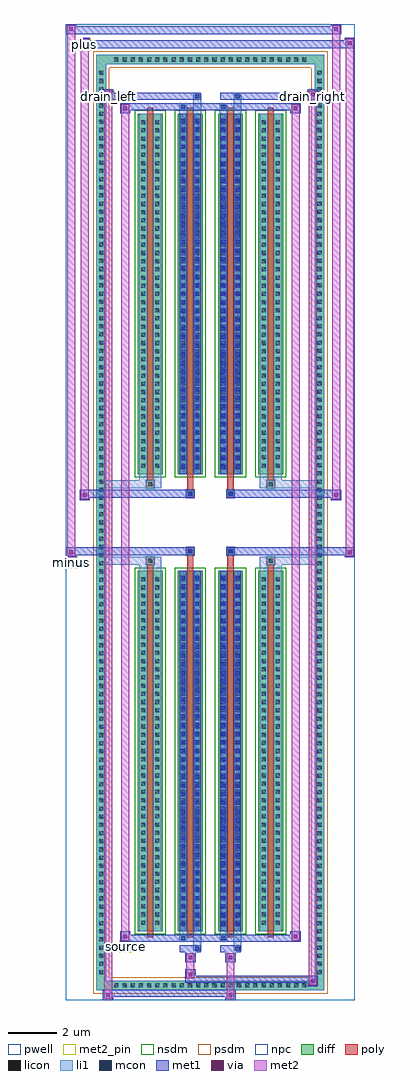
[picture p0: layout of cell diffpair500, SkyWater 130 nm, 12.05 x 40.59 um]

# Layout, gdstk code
import gdstk
lib = gdstk.Library(unit=1e-6, precision=5e-09)
def R(c, l, rs):  # rectangles x0, y0, x1, y1
    for r in rs: c.add(gdstk.rectangle(r[:2], r[2:], *l))
def A(c, l, x, y, w, h, nx, ny, dx, dy):  # array of equal rectangles
    R(c, l, [(x+i*dx, y+j*dy, x+i*dx+w, y+j*dy+h) for i in range(nx) for j in range(ny)])
def P(c, l, *ps):  # polygons
    for p in ps: c.add(gdstk.Polygon(p, *l))
pwell = (64, 44)
diff = (65, 20)
poly = (66, 20)
licon = (66, 44)
li1 = (67, 20)
mcon = (67, 44)
met1 = (68, 20)
via = (68, 44)
met2_pin = (69, 16)
met2 = (69, 20)
nsdm = (93, 44)
psdm = (94, 20)
npc = (95, 20)

diffpair500 = lib.new_cell('diffpair500')
R(diffpair500, pwell, [(-6.01,-19.86,6.01,20.73), (-3.33,-18.05,-0.01,-0.825), (0.01,-18.05,3.33,-0.825), (-3.33,0.825,-0.01,18.05), (0.01,0.825,3.33,18.05)])
A(diffpair500, diff, -4.115, -19.46, 0.41, 0.41, 24, 2, 0.34, 38.51)
A(diffpair500, diff, -4.74, -18.905, 0.41, 0.41, 1, 111, 0, 0.34)
A(diffpair500, diff, 4.33, -18.905, 0.41, 0.41, 1, 111, 0, 0.34)
A(diffpair500, diff, -3.02, -17.005, 1.03, 15, 4, 2, 1.67, 19.01)
R(diffpair500, diff, [(-4.115,-19.46,4.115,-19.05), (-4.74,-18.905,-4.33,18.905), (4.33,-18.905,4.74,18.905), (-4.115,19.05,4.115,19.46)])
P(diffpair500, diff, [(4.74,19.46),(-4.74,19.46),(-4.74,-19.05),(-4.33,-19.05),(-4.33,19.05),(4.33,19.05),(4.33,-19.05),(-4.33,-19.05),(-4.74,-19.05),(-4.74,-19.46),(4.74,-19.46)])
A(diffpair500, poly, -2.63, -17.255, 0.25, 15.5, 4, 2, 1.67, 19.01)
R(diffpair500, poly, [(-2.67,-1.755,-2.34,-1.425), (-2.67,-1.755,-2.34,-1.425), (-0.96,-1.755,-0.71,-1.355), (0.71,-1.755,0.96,-1.355), (2.34,-1.755,2.67,-1.425), (2.34,-1.755,2.67,-1.425), (-1,-1.355,-0.67,-1.025), (-1,-1.355,-0.67,-1.025), (0.67,-1.355,1,-1.025), (0.67,-1.355,1,-1.025), (-1,1.025,-0.67,1.355), (-1,1.025,-0.67,1.355), (0.67,1.025,1,1.355), (0.67,1.025,1,1.355), (-0.96,1.355,-0.71,1.755), (0.71,1.355,0.96,1.755), (-2.67,1.425,-2.34,1.755), (-2.67,1.425,-2.34,1.755), (2.34,1.425,2.67,1.755), (2.34,1.425,2.67,1.755)])
A(diffpair500, licon, -3.995, -19.34, 0.17, 0.17, 24, 2, 0.34, 38.51)
A(diffpair500, licon, -4.62, -18.785, 0.17, 0.17, 1, 111, 0, 0.34)
A(diffpair500, licon, 4.45, -18.785, 0.17, 0.17, 1, 111, 0, 0.34)
A(diffpair500, licon, -2.88, -16.73, 0.17, 0.17, 1, 43, 0, 0.34)
A(diffpair500, licon, -2.3, -16.73, 0.17, 0.17, 1, 43, 0, 0.34)
A(diffpair500, licon, -1.21, -16.73, 0.17, 0.17, 1, 43, 0, 0.34)
A(diffpair500, licon, -0.63, -16.73, 0.17, 0.17, 1, 43, 0, 0.34)
A(diffpair500, licon, 0.46, -16.73, 0.17, 0.17, 1, 43, 0, 0.34)
A(diffpair500, licon, 1.04, -16.73, 0.17, 0.17, 1, 43, 0, 0.34)
A(diffpair500, licon, 2.13, -16.73, 0.17, 0.17, 1, 43, 0, 0.34)
A(diffpair500, licon, 2.71, -16.73, 0.17, 0.17, 1, 43, 0, 0.34)
A(diffpair500, licon, -2.88, 2.28, 0.17, 0.17, 1, 43, 0, 0.34)
A(diffpair500, licon, -2.3, 2.28, 0.17, 0.17, 1, 43, 0, 0.34)
A(diffpair500, licon, -1.21, 2.28, 0.17, 0.17, 1, 43, 0, 0.34)
A(diffpair500, licon, -0.63, 2.28, 0.17, 0.17, 1, 43, 0, 0.34)
A(diffpair500, licon, 0.46, 2.28, 0.17, 0.17, 1, 43, 0, 0.34)
A(diffpair500, licon, 1.04, 2.28, 0.17, 0.17, 1, 43, 0, 0.34)
A(diffpair500, licon, 2.13, 2.28, 0.17, 0.17, 1, 43, 0, 0.34)
A(diffpair500, licon, 2.71, 2.28, 0.17, 0.17, 1, 43, 0, 0.34)
R(diffpair500, licon, [(-2.59,-1.675,-2.42,-1.505), (2.42,-1.675,2.59,-1.505), (-0.92,-1.275,-0.75,-1.105), (0.75,-1.275,0.92,-1.105), (-0.92,1.105,-0.75,1.275), (0.75,1.105,0.92,1.275), (-2.59,1.505,-2.42,1.675), (2.42,1.505,2.59,1.675)])
A(diffpair500, li1, -4.075, -19.42, 0.33, 0.33, 24, 2, 0.34, 38.51)
A(diffpair500, li1, -4.7, -18.865, 0.33, 0.33, 1, 111, 0, 0.34)
A(diffpair500, li1, 4.37, -18.865, 0.33, 0.33, 1, 111, 0, 0.34)
A(diffpair500, li1, -2.96, -16.81, 0.33, 0.33, 1, 43, 0, 0.34)
A(diffpair500, li1, -2.38, -16.81, 0.33, 0.33, 1, 43, 0, 0.34)
A(diffpair500, li1, -1.29, -16.81, 0.33, 0.33, 1, 43, 0, 0.34)
A(diffpair500, li1, -0.71, -16.81, 0.33, 0.33, 1, 43, 0, 0.34)
A(diffpair500, li1, 0.38, -16.81, 0.33, 0.33, 1, 43, 0, 0.34)
A(diffpair500, li1, 0.96, -16.81, 0.33, 0.33, 1, 43, 0, 0.34)
A(diffpair500, li1, 2.05, -16.81, 0.33, 0.33, 1, 43, 0, 0.34)
A(diffpair500, li1, 2.63, -16.81, 0.33, 0.33, 1, 43, 0, 0.34)
A(diffpair500, li1, -1.21, -16.79, 0.17, 0.17, 1, 41, 0, 0.36)
A(diffpair500, li1, -0.63, -16.79, 0.17, 0.17, 1, 41, 0, 0.36)
A(diffpair500, li1, 0.46, -16.79, 0.17, 0.17, 1, 41, 0, 0.36)
A(diffpair500, li1, 1.04, -16.79, 0.17, 0.17, 1, 41, 0, 0.36)
A(diffpair500, li1, -2.96, 2.2, 0.33, 0.33, 1, 43, 0, 0.34)
A(diffpair500, li1, -2.38, 2.2, 0.33, 0.33, 1, 43, 0, 0.34)
A(diffpair500, li1, -1.29, 2.2, 0.33, 0.33, 1, 43, 0, 0.34)
A(diffpair500, li1, -0.71, 2.2, 0.33, 0.33, 1, 43, 0, 0.34)
A(diffpair500, li1, 0.38, 2.2, 0.33, 0.33, 1, 43, 0, 0.34)
A(diffpair500, li1, 0.96, 2.2, 0.33, 0.33, 1, 43, 0, 0.34)
A(diffpair500, li1, 2.05, 2.2, 0.33, 0.33, 1, 43, 0, 0.34)
A(diffpair500, li1, 2.63, 2.2, 0.33, 0.33, 1, 43, 0, 0.34)
A(diffpair500, li1, -1.21, 2.22, 0.17, 0.17, 1, 41, 0, 0.36)
A(diffpair500, li1, -0.63, 2.22, 0.17, 0.17, 1, 41, 0, 0.36)
A(diffpair500, li1, 0.46, 2.22, 0.17, 0.17, 1, 41, 0, 0.36)
A(diffpair500, li1, 1.04, 2.22, 0.17, 0.17, 1, 41, 0, 0.36)
R(diffpair500, li1, [(-4.74,-19.46,-4.33,-19.05), (-4.74,-19.46,-4.33,-19.05), (-4.33,-19.46,4.33,-19.05), (4.33,-19.46,4.74,-19.05), (4.33,-19.46,4.74,-19.05), (-4.74,-19.05,-4.33,19.05), (4.33,-19.05,4.74,19.05), (-0.71,-17.81,-0.38,-17.005), (-0.63,-17.81,-0.46,-17.64), (0.96,-17.81,1.29,-17.005), (1.04,-17.81,1.21,-17.64), (-1.29,-17.38,-0.96,-17.005), (-1.21,-17.38,-1.04,-17.21), (0.38,-17.38,0.71,-17.005), (0.46,-17.38,0.63,-17.21), (-2.96,-17.005,-2.63,-2.005), (-2.38,-17.005,-2.05,-2.005), (-1.29,-17.005,-0.96,-2.005), (-0.71,-17.005,-0.38,-2.005), (0.38,-17.005,0.71,-2.005), (0.96,-17.005,1.29,-2.005), (2.05,-17.005,2.38,-2.005), (2.63,-17.005,2.96,-2.005), (-1.21,-16.79,-1.04,-2.22), (-0.63,-16.79,-0.46,-2.22), (0.46,-16.79,0.63,-2.22), (1.04,-16.79,1.21,-2.22), (-2.96,-2.005,-2.63,-1.425), (-2.38,-2.005,-2.05,-1.425), (2.05,-2.005,2.38,-1.425), (2.63,-2.005,2.96,-1.425), (-4.74,-1.755,-2.67,-1.425), (-2.96,-1.755,-2.67,-1.425), (-2.67,-1.755,-2.34,-1.425), (-2.34,-1.755,-2.05,-1.425), (2.05,-1.755,2.34,-1.425), (2.34,-1.755,2.67,-1.425), (2.34,-1.755,4.74,-1.425), (2.67,-1.755,2.96,-1.425), (-1,-1.355,-0.67,-1.025), (0.67,-1.355,1,-1.025), (-1,1.025,-0.67,1.355), (0.67,1.025,1,1.355), (-4.74,1.425,-2.67,1.755), (-2.96,1.425,-2.67,1.755), (-2.96,1.425,-2.63,2.005), (-2.67,1.425,-2.34,1.755), (-2.38,1.425,-2.05,2.005), (-2.34,1.425,-2.05,1.755), (2.05,1.425,2.34,1.755), (2.05,1.425,2.38,2.005), (2.34,1.425,2.67,1.755), (2.34,1.425,4.74,1.755), (2.63,1.425,2.96,2.005), (2.67,1.425,2.96,1.755), (-2.96,2.005,-2.63,17.005), (-2.38,2.005,-2.05,17.005), (-1.29,2.005,-0.96,17.005), (-0.71,2.005,-0.38,17.005), (0.38,2.005,0.71,17.005), (0.96,2.005,1.29,17.005), (2.05,2.005,2.38,17.005), (2.63,2.005,2.96,17.005), (-1.21,2.22,-1.04,16.79), (-0.63,2.22,-0.46,16.79), (0.46,2.22,0.63,16.79), (1.04,2.22,1.21,16.79), (-1.29,17.005,-0.96,17.38), (-0.71,17.005,-0.38,17.81), (0.38,17.005,0.71,17.38), (0.96,17.005,1.29,17.81), (-1.21,17.21,-1.04,17.38), (0.46,17.21,0.63,17.38), (-0.63,17.64,-0.46,17.81), (1.04,17.64,1.21,17.81), (-4.74,19.05,-4.33,19.46), (-4.74,19.05,-4.33,19.46), (-4.33,19.05,4.33,19.46), (4.33,19.05,4.74,19.46), (4.33,19.05,4.74,19.46)])
A(diffpair500, mcon, -1.21, -16.79, 0.17, 0.17, 1, 41, 0, 0.36)
A(diffpair500, mcon, -0.63, -16.79, 0.17, 0.17, 1, 41, 0, 0.36)
A(diffpair500, mcon, 0.46, -16.79, 0.17, 0.17, 1, 41, 0, 0.36)
A(diffpair500, mcon, 1.04, -16.79, 0.17, 0.17, 1, 41, 0, 0.36)
A(diffpair500, mcon, -1.21, 2.22, 0.17, 0.17, 1, 41, 0, 0.36)
A(diffpair500, mcon, -0.63, 2.22, 0.17, 0.17, 1, 41, 0, 0.36)
A(diffpair500, mcon, 0.46, 2.22, 0.17, 0.17, 1, 41, 0, 0.36)
A(diffpair500, mcon, 1.04, 2.22, 0.17, 0.17, 1, 41, 0, 0.36)
R(diffpair500, mcon, [(-0.63,-17.81,-0.46,-17.64), (1.04,-17.81,1.21,-17.64), (-1.21,-17.38,-1.04,-17.21), (0.46,-17.38,0.63,-17.21), (-0.92,-1.275,-0.75,-1.105), (0.75,-1.275,0.92,-1.105), (-0.92,1.105,-0.75,1.275), (0.75,1.105,0.92,1.275), (-1.21,17.21,-1.04,17.38), (0.46,17.21,0.63,17.38), (-0.63,17.64,-0.46,17.81), (1.04,17.64,1.21,17.81)])
A(diffpair500, met1, -1.27, -16.85, 0.29, 0.29, 1, 41, 0, 0.36)
A(diffpair500, met1, -0.69, -16.85, 0.29, 0.29, 1, 41, 0, 0.36)
A(diffpair500, met1, 0.4, -16.85, 0.29, 0.29, 1, 41, 0, 0.36)
A(diffpair500, met1, 0.98, -16.85, 0.29, 0.29, 1, 41, 0, 0.36)
A(diffpair500, met1, -1.27, 2.16, 0.29, 0.29, 1, 41, 0, 0.36)
A(diffpair500, met1, -0.69, 2.16, 0.29, 0.29, 1, 41, 0, 0.36)
A(diffpair500, met1, 0.4, 2.16, 0.29, 0.29, 1, 41, 0, 0.36)
A(diffpair500, met1, 0.98, 2.16, 0.29, 0.29, 1, 41, 0, 0.36)
R(diffpair500, met1, [(-4.47,-19.86,-4.04,-19.43), (0.62,-19.86,1.05,-19.43), (-4.47,-19.72,1.05,-19.43), (4.04,-19.29,4.47,-18.86), (-1.05,-19.15,4.47,-18.86), (-1.05,-19.01,-0.62,-18.58), (-1.05,-18.3,-0.62,-17.87), (0.62,-18.3,1.05,-17.87), (-1.27,-17.87,-0.4,-17.58), (-0.69,-17.87,-0.4,-17.58), (0.4,-17.87,1.27,-17.58), (0.98,-17.87,1.27,-17.58), (-3.76,-17.44,-3.33,-17.01), (-3.76,-17.44,-1.27,-17.15), (-1.27,-17.44,-0.98,-17.15), (-1.27,-17.44,-0.4,-17.15), (-0.4,-17.44,0.4,-17.15), (0.4,-17.44,0.69,-17.15), (0.4,-17.44,1.27,-17.15), (1.27,-17.44,3.76,-17.15), (3.33,-17.44,3.76,-17.01), (-1.27,-17.005,-0.98,-2.005), (-0.69,-17.005,-0.4,-2.005), (0.4,-17.005,0.69,-2.005), (0.98,-17.005,1.27,-2.005), (-6.01,-1.455,-5.58,-1.025), (5.58,-1.455,6.01,-1.025), (-6.01,-1.355,-0.67,-1.025), (-1,-1.355,-0.67,-1.025), (0.67,-1.355,1,-1.025), (0.67,-1.355,6.01,-1.025), (-0.98,-1.335,-0.69,-1.045), (0.69,-1.335,0.98,-1.045), (-5.44,0.925,-5.01,1.355), (5.01,0.925,5.44,1.355), (-5.44,1.025,-1,1.355), (-1,1.025,-0.67,1.355), (0.67,1.025,1,1.355), (1,1.025,5.44,1.355), (-0.98,1.045,-0.69,1.335), (0.69,1.045,0.98,1.335), (-1.27,2.005,-0.98,17.005), (-0.69,2.005,-0.4,17.005), (0.4,2.005,0.69,17.005), (0.98,2.005,1.27,17.005), (-3.76,17.01,-3.33,17.44), (3.33,17.01,3.76,17.44), (-3.76,17.15,-1.27,17.44), (-1.27,17.15,-0.98,17.44), (-1.27,17.15,-0.4,17.44), (-0.4,17.15,0.4,17.44), (0.4,17.15,0.69,17.44), (0.4,17.15,1.27,17.44), (1.27,17.15,3.76,17.44), (-4.47,17.58,-4.04,18.01), (-4.47,17.58,-1.27,17.87), (-1.27,17.58,-0.4,17.87), (-0.69,17.58,-0.4,17.87), (0.4,17.58,1.27,17.87), (0.98,17.58,1.27,17.87), (1.27,17.58,4.47,17.87), (4.04,17.58,4.47,18.01), (-5.44,19.73,-5.01,20.16), (-5.44,19.73,-3.33,20.06), (-3.33,19.73,3.33,20.06), (3.33,19.73,6.01,20.06), (5.58,19.73,6.01,20.16), (-6.01,20.3,-5.58,20.73), (-6.01,20.3,-3.33,20.63), (-3.33,20.3,3.33,20.63), (3.33,20.3,5.44,20.63), (5.01,20.3,5.44,20.73)])
R(diffpair500, via, [(-4.33,-19.72,-4.18,-19.57), (0.76,-19.72,0.91,-19.57), (4.18,-19.15,4.33,-19), (-0.91,-18.87,-0.76,-18.72), (-0.91,-18.16,-0.76,-18.01), (0.76,-18.16,0.91,-18.01), (-3.62,-17.3,-3.47,-17.15), (3.47,-17.3,3.62,-17.15), (-5.87,-1.315,-5.72,-1.165), (5.72,-1.315,5.87,-1.165), (-5.3,1.065,-5.15,1.215), (5.15,1.065,5.3,1.215), (-3.62,17.15,-3.47,17.3), (3.47,17.15,3.62,17.3), (-4.33,17.72,-4.18,17.87), (4.18,17.72,4.33,17.87), (-5.3,19.87,-5.15,20.02), (5.72,19.87,5.87,20.02), (-5.87,20.44,-5.72,20.59), (5.15,20.44,5.3,20.59)])
R(diffpair500, met2_pin, [(-3.795,-17.89,-3.295,-17.39), (-6.045,-1.905,-5.545,-1.405), (-4.505,17.46,-4.005,17.96), (4.005,17.46,4.505,17.96), (-5.475,19.61,-4.975,20.11)])
R(diffpair500, met2, [(-4.42,-19.81,-4.09,-19.48), (-4.42,-19.81,-4.09,17.96), (0.67,-19.81,1,-19.48), (0.67,-19.48,1,-18.25), (4.09,-19.24,4.42,-18.91), (4.09,-19.24,4.42,17.96), (-1,-18.96,-0.67,-18.63), (-1,-18.63,-0.67,-18.25), (-1,-18.25,-0.67,-17.92), (0.67,-18.25,1,-17.92), (-3.71,-17.39,-3.38,-17.06), (-3.71,-17.39,-3.38,17.39), (3.38,-17.39,3.71,-17.06), (3.38,-17.39,3.71,17.39), (-5.96,-1.405,-5.63,-1.075), (-5.96,-1.405,-5.63,20.68), (5.63,-1.405,5.96,-1.075), (5.63,-1.405,5.96,20.11), (-5.39,0.975,-5.06,1.305), (-5.39,0.975,-5.06,20.11), (5.06,0.975,5.39,1.305), (5.06,0.975,5.39,20.68), (-3.71,17.06,-3.38,17.39), (3.38,17.06,3.71,17.39), (-4.42,17.63,-4.09,17.96), (4.09,17.63,4.42,17.96), (-5.39,19.78,-5.06,20.11), (5.63,19.78,5.96,20.11), (-5.96,20.35,-5.63,20.68), (5.06,20.35,5.39,20.68)])
P(diffpair500, met2, [(5.96,-1.405),(5.96,-1.405),(5.96,-1.075),(5.96,-1.075)],
  [(5.96,19.78),(5.96,19.78),(5.96,20.11),(5.96,20.11)],
  [(-5.63,-1.405),(-5.63,-1.405),(-5.63,-1.075),(-5.63,-1.075)],
  [(-5.63,20.35),(-5.63,20.35),(-5.63,20.68),(-5.63,20.68)],
  [(5.39,0.975),(5.39,0.975),(5.39,1.305),(5.39,1.305)],
  [(5.39,20.35),(5.39,20.35),(5.39,20.68),(5.39,20.68)],
  [(-5.06,0.975),(-5.06,0.975),(-5.06,1.305),(-5.06,1.305)],
  [(-5.06,19.78),(-5.06,19.78),(-5.06,20.11),(-5.06,20.11)],
  [(-4.09,-19.81),(-4.09,-19.81),(-4.09,-19.48),(-4.09,-19.48)],
  [(-4.09,17.63),(-4.09,17.63),(-4.09,17.96),(-4.09,17.96)],
  [(4.42,-19.24),(4.42,-19.24),(4.42,-18.91),(4.42,-18.91)],
  [(4.42,17.63),(4.42,17.63),(4.42,17.96),(4.42,17.96)],
  [(-3.38,-17.39),(-3.38,-17.39),(-3.38,-17.06),(-3.38,-17.06)],
  [(-3.38,17.06),(-3.38,17.06),(-3.38,17.39),(-3.38,17.39)],
  [(3.71,-17.39),(3.71,-17.39),(3.71,-17.06),(3.71,-17.06)],
  [(3.71,17.06),(3.71,17.06),(3.71,17.39),(3.71,17.39)])
A(diffpair500, nsdm, -3.15, -17.135, 1.29, 15.26, 4, 2, 1.67, 19.01)
P(diffpair500, psdm, [(4.87,19.59),(-4.87,19.59),(-4.87,-18.92),(-4.2,-18.92),(-4.2,18.92),(4.2,18.92),(4.2,-18.92),(-4.2,-18.92),(-4.87,-18.92),(-4.87,-19.59),(4.87,-19.59)])
R(diffpair500, npc, [(-2.69,-1.775,-2.32,-1.405), (2.32,-1.775,2.69,-1.405), (-1.02,-1.375,-0.65,-1.005), (0.65,-1.375,1.02,-1.005), (-1.02,1.005,-0.65,1.375), (0.65,1.005,1.02,1.375), (-2.69,1.405,-2.32,1.775), (2.32,1.405,2.69,1.775)])
diffpair500.add(gdstk.Label('minus', (-5.795,-1.655), layer=69, texttype=5))
diffpair500.add(gdstk.Label('drain_right', (4.255,17.71), layer=69, texttype=5))
diffpair500.add(gdstk.Label('drain_left', (-4.255,17.71), layer=69, texttype=5))
diffpair500.add(gdstk.Label('source', (-3.545,-17.64), layer=69, texttype=5))
diffpair500.add(gdstk.Label('plus', (-5.225,19.86), layer=69, texttype=5))

lib.write_gds('diffpair500.gds')
